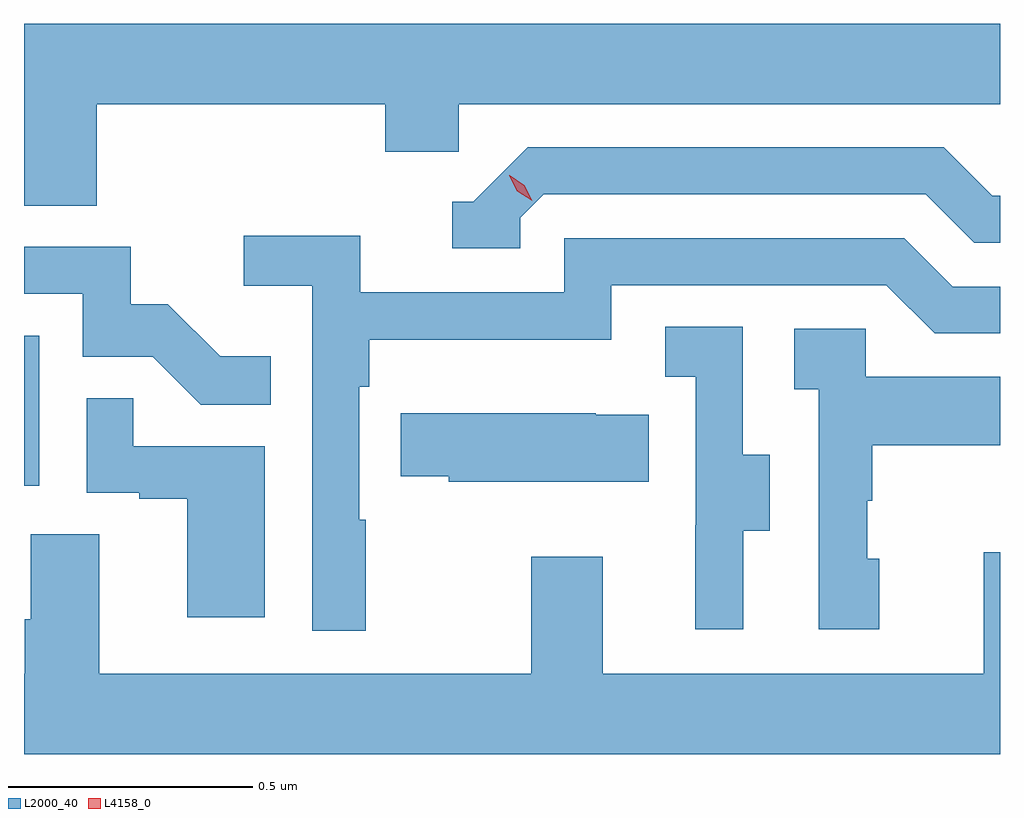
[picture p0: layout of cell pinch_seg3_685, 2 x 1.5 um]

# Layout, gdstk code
import gdstk
lib = gdstk.Library(unit=1e-6, precision=1e-09)
def R(c, l, rs):  # rectangles x0, y0, x1, y1
    for r in rs: c.add(gdstk.rectangle(r[:2], r[2:], *l))
def P(c, l, *ps):  # polygons
    for p in ps: c.add(gdstk.Polygon(p, *l))
L2000_40 = (2000, 40)
L4158_0 = (4158, 0)

pinch_seg3_685 = lib.new_cell('pinch_seg3_685')
R(pinch_seg3_685, L2000_40, [(1126.935,678.822,1126.966,679.129)])
P(pinch_seg3_685, L2000_40, [(1127.084,679.604),(1127.675,679.604),(1127.675,679.506),(1127.826,679.506),(1127.826,679.604),(1128.935,679.604),(1128.935,679.768),(1126.935,679.768),(1126.935,679.396),(1127.084,679.396)],
  [(1127.952,679.371),(1128,679.419),(1128.783,679.419),(1128.882,679.32),(1128.935,679.32),(1128.935,679.416),(1128.919,679.416),(1128.82,679.515),(1127.967,679.515),(1127.856,679.404),(1127.813,679.404),(1127.813,679.308),(1127.952,679.308)],
  [(1127.635,678.752),(1127.622,678.752),(1127.622,679.025),(1127.642,679.025),(1127.642,679.121),(1128.138,679.121),(1128.138,679.233),(1128.702,679.233),(1128.801,679.134),(1128.935,679.134),(1128.935,679.23),(1128.838,679.23),(1128.739,679.329),(1128.042,679.329),(1128.042,679.218),(1127.624,679.218),(1127.624,679.334),(1127.385,679.334),(1127.385,679.232),(1127.526,679.232),(1127.526,678.525),(1127.635,678.525)],
  [(1127.441,679.087),(1127.337,679.087),(1127.23,679.194),(1127.154,679.194),(1127.154,679.311),(1126.935,679.311),(1126.935,679.215),(1127.055,679.215),(1127.055,679.086),(1127.199,679.086),(1127.297,678.988),(1127.441,678.988)],
  [(1128.409,678.73),(1128.463,678.73),(1128.463,678.885),(1128.408,678.885),(1128.408,679.148),(1128.249,679.148),(1128.249,679.045),(1128.312,679.045),(1128.312,678.741),(1128.311,678.741),(1128.311,678.528),(1128.409,678.528)],
  [(1128.688,678.672),(1128.663,678.672),(1128.663,678.791),(1128.673,678.791),(1128.673,678.905),(1128.935,678.905),(1128.935,679.045),(1128.66,679.045),(1128.66,679.143),(1128.513,679.143),(1128.513,679.019),(1128.564,679.019),(1128.564,678.528),(1128.688,678.528)],
  [(1127.428,678.903),(1127.159,678.903),(1127.159,679.001),(1127.064,679.001),(1127.064,678.807),(1127.171,678.807),(1127.171,678.795),(1127.27,678.795),(1127.27,678.552),(1127.428,678.552)],
  [(1128.215,678.967),(1128.107,678.967),(1128.107,678.97),(1127.707,678.97),(1127.707,678.841),(1127.805,678.841),(1127.805,678.83),(1128.215,678.83)],
  [(1128.935,678.685),(1128.902,678.685),(1128.902,678.436),(1128.121,678.436),(1128.121,678.676),(1127.974,678.676),(1127.974,678.436),(1127.089,678.436),(1127.089,678.722),(1126.949,678.722),(1126.949,678.548),(1126.937,678.548),(1126.937,678.436),(1126.935,678.436),(1126.935,678.272),(1128.935,678.272)])
P(pinch_seg3_685, L4158_0, [(1127.976,679.406),(1127.946,679.425),(1127.929,679.457),(1127.929,679.458),(1127.93,679.458),(1127.96,679.438),(1127.977,679.406),(1127.977,679.406)])

lib.write_gds('pinch_seg3_685.gds')
